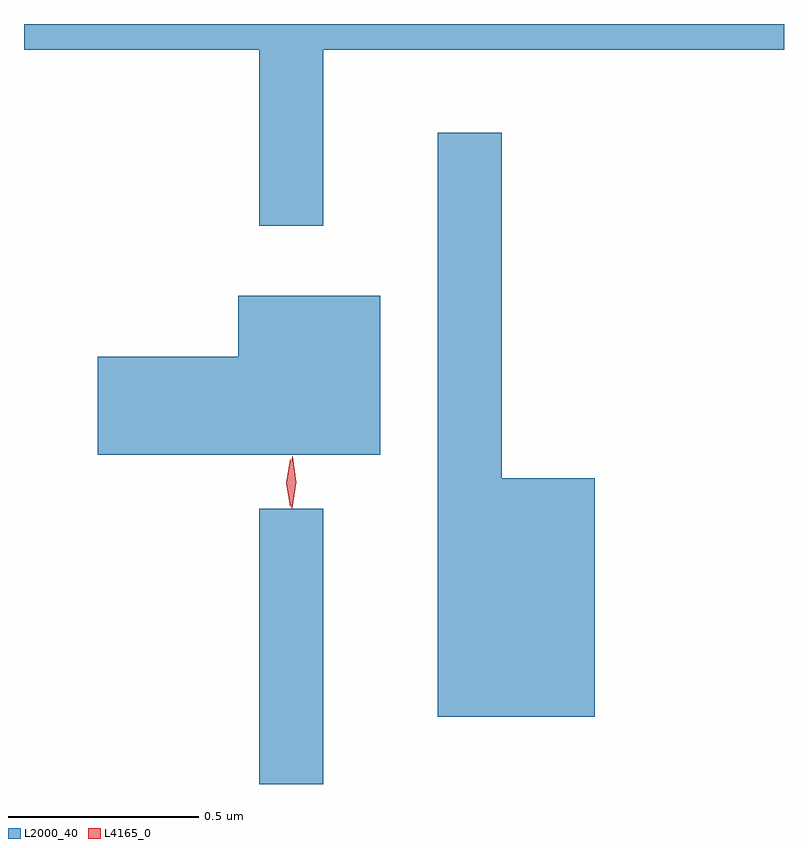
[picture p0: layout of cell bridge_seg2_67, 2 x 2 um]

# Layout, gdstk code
import gdstk
lib = gdstk.Library(unit=1e-6, precision=1e-09)
def R(c, l, rs):  # rectangles x0, y0, x1, y1
    for r in rs: c.add(gdstk.rectangle(r[:2], r[2:], *l))
def P(c, l, *ps):  # polygons
    for p in ps: c.add(gdstk.Polygon(p, *l))
L2000_40 = (2000, 40)
L4165_0 = (4165, 0)

bridge_seg2_67 = lib.new_cell('bridge_seg2_67')
R(bridge_seg2_67, L2000_40, [(1124.071,1101.884,1124.239,1102.608)])
P(bridge_seg2_67, L2000_40, [(1124.239,1103.816),(1125.452,1103.816),(1125.452,1103.884),(1123.452,1103.884),(1123.452,1103.816),(1124.071,1103.816),(1124.071,1103.353),(1124.239,1103.353)],
  [(1124.954,1102.689),(1124.709,1102.689),(1124.709,1103.598),(1124.541,1103.598),(1124.541,1102.061),(1124.954,1102.061)],
  [(1124.389,1103.169),(1124.016,1103.169),(1124.016,1103.009),(1123.646,1103.009),(1123.646,1102.751),(1124.389,1102.751)])
P(bridge_seg2_67, L4165_0, [(1124.152,1102.613),(1124.152,1102.613),(1124.142,1102.676),(1124.152,1102.74),(1124.152,1102.74),(1124.153,1102.74),(1124.162,1102.676),(1124.153,1102.613)],
  [(1124.156,1102.61),(1124.148,1102.678),(1124.158,1102.745),(1124.158,1102.746),(1124.159,1102.745),(1124.168,1102.678),(1124.158,1102.61),(1124.157,1102.61)])

lib.write_gds('bridge_seg2_67.gds')
